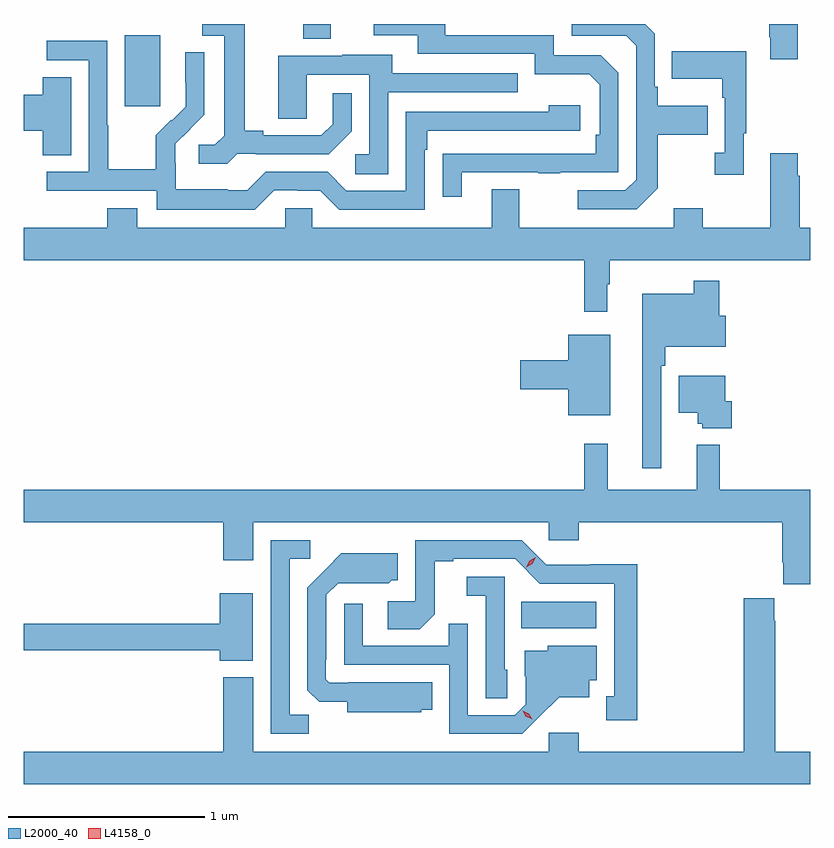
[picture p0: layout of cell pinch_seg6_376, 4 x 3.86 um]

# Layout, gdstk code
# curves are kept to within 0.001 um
import gdstk
lib = gdstk.Library(unit=1e-6, precision=1e-09)
def R(c, l, rs):  # rectangles x0, y0, x1, y1
    for r in rs: c.add(gdstk.rectangle(r[:2], r[2:], *l))
def P(c, l, *ps):  # polygons
    for p in ps: c.add(gdstk.Polygon(p, *l))
L2000_40 = (2000, 40)
L4158_0 = (4158, 0)

pinch_seg6_376 = lib.new_cell('pinch_seg6_376')
R(pinch_seg6_376, L2000_40, [(659.29,936.14,659.671,936.274), (657.275,938.793,657.454,939.154), (658.181,939.136,658.321,939.212)])
P(pinch_seg6_376, L2000_40, [(659.983,938.377),(659.983,938.65),(660.239,938.65),(660.239,938.797),(659.983,938.797),(659.983,938.893),(659.97,938.893),(659.97,939.162),(659.92,939.212),(659.547,939.212),(659.547,939.153),(659.823,939.153),(659.874,939.102),(659.874,938.421),(659.82,938.367),(659.577,938.367),(659.577,938.271),(659.877,938.271)],
  [(658.987,938.457),(659.377,938.457),(659.377,938.452),(659.489,938.452),(659.489,938.457),(659.784,938.457),(659.784,938.964),(659.694,939.054),(659.454,939.054),(659.454,939.156),(658.903,939.156),(658.903,939.212),(658.539,939.212),(658.539,939.156),(658.763,939.156),(658.763,939.06),(659.358,939.06),(659.358,938.957),(659.635,938.957),(659.688,938.904),(659.688,938.65),(659.668,938.65),(659.668,938.553),(658.891,938.552),(658.891,938.334),(658.987,938.334)],
  [(657.846,938.553),(657.94,938.553),(657.94,938.55),(658.312,938.55),(658.428,938.666),(658.428,938.86),(658.331,938.86),(658.331,938.703),(658.274,938.646),(657.979,938.646),(657.979,938.669),(657.883,938.669),(657.883,939.212),(657.669,939.212),(657.669,939.153),(657.779,939.153),(657.779,938.645),(657.732,938.598),(657.651,938.598),(657.651,938.501),(657.794,938.501)],
  [(660.697,939.212),(660.55,939.212),(660.55,939.145),(660.557,939.145),(660.557,939.033),(660.697,939.033)],
  [(658.035,938.367),(658.151,938.367),(658.151,938.364),(658.269,938.364),(658.365,938.268),(658.8,938.268),(658.8,938.573),(658.813,938.573),(658.813,938.67),(659.59,938.67),(659.59,938.8),(659.429,938.8),(659.429,938.766),(658.704,938.766),(658.704,938.364),(658.401,938.364),(658.305,938.46),(657.99,938.46),(657.897,938.367),(657.797,938.367),(657.797,938.371),(657.534,938.371),(657.534,938.505),(657.532,938.505),(657.532,938.602),(657.678,938.75),(657.678,939.068),(657.582,939.068),(657.582,938.914),(657.584,938.914),(657.584,938.792),(657.513,938.721),(657.51,938.724),(657.433,938.647),(657.433,938.473),(657.189,938.473),(657.189,938.696),(657.186,938.696),(657.186,939.126),(656.877,939.126),(656.877,939.027),(657.09,939.027),(657.09,938.46),(656.877,938.46),(656.877,938.364),(657.438,938.364),(657.438,938.267),(657.935,938.267)],
  [(660.421,938.657),(660.433,938.657),(660.433,939.073),(660.055,939.073),(660.055,938.933),(660.312,938.933),(660.312,938.837),(660.324,938.837),(660.324,938.558),(660.273,938.558),(660.273,938.445),(660.421,938.445)],
  [(658.614,938.865),(659.273,938.865),(659.273,938.961),(658.633,938.961),(658.633,939.055),(658.379,939.055),(658.379,939.051),(658.055,939.051),(658.055,938.731),(658.2,938.731),(658.2,938.955),(658.518,938.955),(658.518,938.55),(658.446,938.55),(658.446,938.449),(658.614,938.449)],
  [(657.001,938.942),(656.858,938.942),(656.858,938.852),(656.76,938.852),(656.76,938.669),(656.858,938.669),(656.858,938.545),(657.001,938.545)],
  [(659.728,937.889),(659.74,937.889),(659.74,938.012),(660.76,938.012),(660.76,938.176),(660.705,938.176),(660.705,938.441),(660.697,938.441),(660.697,938.554),(660.557,938.554),(660.557,938.176),(660.213,938.176),(660.213,938.275),(660.065,938.275),(660.065,938.176),(659.281,938.176),(659.281,938.371),(659.141,938.371),(659.141,938.176),(658.227,938.176),(658.227,938.274),(658.089,938.274),(658.089,938.176),(657.337,938.176),(657.337,938.275),(657.185,938.275),(657.185,938.176),(656.76,938.176),(656.76,938.012),(659.611,938.012),(659.611,937.749),(659.728,937.749)],
  [(660.003,937.475),(660.023,937.475),(660.023,937.571),(660.331,937.571),(660.331,937.729),(660.296,937.729),(660.296,937.906),(660.168,937.906),(660.168,937.84),(659.906,937.84),(659.906,936.954),(660.003,936.954)],
  [(659.743,937.633),(659.528,937.633),(659.528,937.502),(659.286,937.502),(659.286,937.355),(659.528,937.355),(659.528,937.223),(659.743,937.223)],
  [(660.359,937.293),(660.328,937.293),(660.328,937.423),(660.092,937.423),(660.092,937.235),(660.188,937.235),(660.188,937.179),(660.21,937.179),(660.21,937.157),(660.359,937.157)],
  [(660.76,936.844),(660.299,936.844),(660.299,937.072),(660.182,937.072),(660.182,936.844),(659.729,936.844),(659.729,937.078),(659.611,937.078),(659.611,936.844),(656.76,936.844),(656.76,936.68),(657.776,936.68),(657.776,936.486),(657.928,936.486),(657.928,936.68),(659.43,936.68),(659.43,936.587),(659.582,936.587),(659.582,936.68),(660.617,936.68),(660.617,936.475),(660.623,936.475),(660.623,936.363),(660.76,936.363)],
  [(658.209,935.699),(658.113,935.699),(658.113,936.492),(658.216,936.492),(658.216,936.588),(658.017,936.588),(658.017,935.604),(658.209,935.604)],
  [(659.881,936.464),(659.64,936.464),(659.64,936.462),(659.418,936.462),(659.292,936.588),(658.752,936.588),(658.752,936.276),(658.611,936.276),(658.611,936.136),(658.775,936.136),(658.851,936.212),(658.851,936.48),(658.945,936.48),(658.945,936.492),(659.259,936.492),(659.385,936.366),(659.762,936.366),(659.762,935.793),(659.723,935.793),(659.723,935.673),(659.881,935.673)],
  [(658.782,935.726),(658.838,935.726),(658.838,935.866),(658.414,935.866),(658.414,935.862),(658.314,935.862),(658.296,935.88),(658.296,935.98),(658.299,935.98),(658.299,936.309),(658.359,936.369),(658.616,936.368),(658.632,936.384),(658.663,936.384),(658.663,936.52),(658.375,936.52),(658.203,936.346),(658.203,935.824),(658.262,935.765),(658.406,935.765),(658.406,935.714),(658.782,935.714)],
  [(659.22,935.928),(659.205,935.928),(659.205,936.402),(659.013,936.402),(659.013,936.305),(659.109,936.305),(659.109,935.785),(659.22,935.785)],
  [(657.925,936.319),(657.758,936.319),(657.758,936.164),(656.76,936.164),(656.76,936.028),(657.758,936.028),(657.758,935.975),(657.925,935.975)],
  [(660.76,935.512),(660.582,935.512),(660.582,936.179),(660.577,936.179),(660.577,936.292),(660.422,936.292),(660.422,935.512),(659.582,935.512),(659.582,935.608),(659.43,935.608),(659.43,935.512),(657.928,935.512),(657.928,935.89),(657.776,935.89),(657.776,935.512),(656.76,935.512),(656.76,935.348),(660.76,935.348)],
  [(659.38,935.687),(659.483,935.789),(659.635,935.789),(659.635,935.876),(659.674,935.876),(659.674,936.052),(659.424,936.052),(659.424,936.025),(659.309,936.025),(659.309,935.896),(659.313,935.896),(659.313,935.754),(659.256,935.697),(659.019,935.697),(659.019,936.164),(658.921,936.164),(658.921,936.051),(658.485,936.051),(658.485,936.265),(658.389,936.265),(658.389,935.955),(658.923,935.955),(658.923,935.604),(659.296,935.604)])
P(pinch_seg6_376, L4158_0, [(659.316,936.449),(659.316,936.449),(659.332,936.482),(659.364,936.501),(659.364,936.501),(659.364,936.501),(659.347,936.468),(659.316,936.449)],
  [(659.345,935.677),(659.314,935.692),(659.297,935.721),(659.297,935.721),(659.297,935.721),(659.328,935.706),(659.345,935.677),(659.345,935.677)])

lib.write_gds('pinch_seg6_376.gds')
